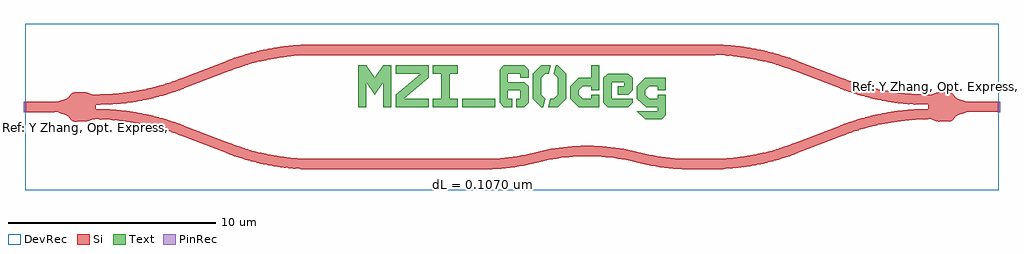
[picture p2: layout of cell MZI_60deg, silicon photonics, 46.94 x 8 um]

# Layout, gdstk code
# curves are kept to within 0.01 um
import gdstk
lib = gdstk.Library(unit=1e-6, precision=1e-09)
def R(c, l, rs):  # rectangles x0, y0, x1, y1
    for r in rs: c.add(gdstk.rectangle(r[:2], r[2:], *l))
def P(c, l, *ps):  # polygons
    for p in ps: c.add(gdstk.Polygon(p, *l))
Si = (1, 0)
PinRec = (1, 10)
Text = (10, 0)
DevRec = (68, 0)

optical_port1 = lib.new_cell('optical_port1')
optical_port1.add(gdstk.FlexPath([(0.05,0),(-0.05,0)], 0.5, ends="flush", simple_path=True, layer=1, datatype=10))  # PinRec
optical_port1.add(gdstk.FlexPath([(0.05,0),(-0.05,0)], 0.5, ends="flush", simple_path=True, layer=1, datatype=10))  # PinRec
optical_port1.add(gdstk.FlexPath([(0.05,0),(-0.05,0)], 0.5, ends="flush", simple_path=True, layer=1, datatype=10))  # PinRec
optical_port1.add(gdstk.FlexPath([(0.05,0),(-0.05,0)], 0.5, ends="flush", simple_path=True, layer=1, datatype=10))  # PinRec
optical_port1.add(gdstk.FlexPath([(0.05,0),(-0.05,0)], 0.5, ends="flush", simple_path=True, layer=1, datatype=10))  # PinRec
optical_port1.add(gdstk.FlexPath([(0.05,0),(-0.05,0)], 0.5, ends="flush", simple_path=True, layer=1, datatype=10))  # PinRec
optical_port1.add(gdstk.FlexPath([(0.05,0),(-0.05,0)], 0.5, ends="flush", simple_path=True, layer=1, datatype=10))  # PinRec
optical_port1.add(gdstk.FlexPath([(0.05,0),(-0.05,0)], 0.5, ends="flush", simple_path=True, layer=1, datatype=10))  # PinRec
optical_port1.add(gdstk.FlexPath([(0.05,0),(-0.05,0)], 0.5, ends="flush", simple_path=True, layer=1, datatype=10))  # PinRec
optical_port1.add(gdstk.FlexPath([(0.05,0),(-0.05,0)], 0.5, ends="flush", simple_path=True, layer=1, datatype=10))  # PinRec
optical_port1.add(gdstk.FlexPath([(0.05,0),(-0.05,0)], 0.5, ends="flush", simple_path=True, layer=1, datatype=10))  # PinRec
optical_port1.add(gdstk.FlexPath([(0.05,0),(-0.05,0)], 0.5, ends="flush", simple_path=True, layer=1, datatype=10))  # PinRec
optical_port1.add(gdstk.FlexPath([(0.05,0),(-0.05,0)], 0.5, ends="flush", simple_path=True, layer=1, datatype=10))  # PinRec
optical_port1.add(gdstk.FlexPath([(0.05,0),(-0.05,0)], 0.5, ends="flush", simple_path=True, layer=1, datatype=10))  # PinRec
optical_port1.add(gdstk.FlexPath([(0.05,0),(-0.05,0)], 0.5, ends="flush", simple_path=True, layer=1, datatype=10))  # PinRec
optical_port1.add(gdstk.FlexPath([(0.05,0),(-0.05,0)], 0.5, ends="flush", simple_path=True, layer=1, datatype=10))  # PinRec
optical_port1.add(gdstk.FlexPath([(0.05,0),(-0.05,0)], 0.5, ends="flush", simple_path=True, layer=1, datatype=10))  # PinRec
optical_port1.add(gdstk.FlexPath([(0.05,0),(-0.05,0)], 0.5, ends="flush", simple_path=True, layer=1, datatype=10))  # PinRec
optical_port1.add(gdstk.FlexPath([(0.05,0),(-0.05,0)], 0.5, ends="flush", simple_path=True, layer=1, datatype=10))  # PinRec
optical_port1.add(gdstk.FlexPath([(0.05,0),(-0.05,0)], 0.5, ends="flush", simple_path=True, layer=1, datatype=10))  # PinRec
optical_port1.add(gdstk.FlexPath([(0.05,0),(-0.05,0)], 0.5, ends="flush", simple_path=True, layer=1, datatype=10))  # PinRec
optical_port1.add(gdstk.FlexPath([(0.05,0),(-0.05,0)], 0.5, ends="flush", simple_path=True, layer=1, datatype=10))  # PinRec
optical_port1.add(gdstk.FlexPath([(0.05,0),(-0.05,0)], 0.5, ends="flush", simple_path=True, layer=1, datatype=10))  # PinRec
optical_port1.add(gdstk.FlexPath([(0.05,0),(-0.05,0)], 0.5, ends="flush", simple_path=True, layer=1, datatype=10))  # PinRec
optical_port1.add(gdstk.FlexPath([(0.05,0),(-0.05,0)], 0.5, ends="flush", simple_path=True, layer=1, datatype=10))  # PinRec
optical_port1.add(gdstk.FlexPath([(0.05,0),(-0.05,0)], 0.5, ends="flush", simple_path=True, layer=1, datatype=10))  # PinRec
optical_port1.add(gdstk.FlexPath([(0.05,0),(-0.05,0)], 0.5, ends="flush", simple_path=True, layer=1, datatype=10))  # PinRec
optical_port1.add(gdstk.FlexPath([(0.05,0),(-0.05,0)], 0.5, ends="flush", simple_path=True, layer=1, datatype=10))  # PinRec
optical_port1.add(gdstk.FlexPath([(0.05,0),(-0.05,0)], 0.5, ends="flush", simple_path=True, layer=1, datatype=10))  # PinRec
optical_port1.add(gdstk.FlexPath([(0.05,0),(-0.05,0)], 0.5, ends="flush", simple_path=True, layer=1, datatype=10))  # PinRec
optical_port1.add(gdstk.FlexPath([(0.05,0),(-0.05,0)], 0.5, ends="flush", simple_path=True, layer=1, datatype=10))  # PinRec
optical_port1.add(gdstk.FlexPath([(0.05,0),(-0.05,0)], 0.5, ends="flush", simple_path=True, layer=1, datatype=10))  # PinRec
optical_port1.add(gdstk.FlexPath([(0.05,0),(-0.05,0)], 0.5, ends="flush", simple_path=True, layer=1, datatype=10))  # PinRec
optical_port1.add(gdstk.FlexPath([(0.05,0),(-0.05,0)], 0.5, ends="flush", simple_path=True, layer=1, datatype=10))  # PinRec
optical_port1.add(gdstk.FlexPath([(0.05,0),(-0.05,0)], 0.5, ends="flush", simple_path=True, layer=1, datatype=10))  # PinRec
optical_port1.add(gdstk.FlexPath([(0.05,0),(-0.05,0)], 0.5, ends="flush", simple_path=True, layer=1, datatype=10))  # PinRec
optical_port1.add(gdstk.FlexPath([(0.05,0),(-0.05,0)], 0.5, ends="flush", simple_path=True, layer=1, datatype=10))  # PinRec
optical_port1.add(gdstk.Label('o1', (0,0), layer=1, texttype=10))
optical_port1.add(gdstk.Label('o1', (0,0), layer=1, texttype=10))
optical_port1.add(gdstk.Label('o1', (0,0), layer=1, texttype=10))
optical_port1.add(gdstk.Label('o1', (0,0), layer=1, texttype=10))
optical_port1.add(gdstk.Label('o1', (0,0), layer=1, texttype=10))
optical_port1.add(gdstk.Label('o1', (0,0), layer=1, texttype=10))
optical_port1.add(gdstk.Label('o1', (0,0), layer=1, texttype=10))
optical_port1.add(gdstk.Label('o1', (0,0), layer=1, texttype=10))
optical_port1.add(gdstk.Label('o1', (0,0), layer=1, texttype=10))
optical_port1.add(gdstk.Label('o1', (0,0), layer=1, texttype=10))
optical_port1.add(gdstk.Label('o1', (0,0), layer=1, texttype=10))
optical_port1.add(gdstk.Label('o1', (0,0), layer=1, texttype=10))
optical_port1.add(gdstk.Label('o1', (0,0), layer=1, texttype=10))
optical_port1.add(gdstk.Label('o1', (0,0), layer=1, texttype=10))
optical_port1.add(gdstk.Label('o1', (0,0), layer=1, texttype=10))
optical_port1.add(gdstk.Label('o1', (0,0), layer=1, texttype=10))
optical_port1.add(gdstk.Label('o1', (0,0), layer=1, texttype=10))
optical_port1.add(gdstk.Label('o1', (0,0), layer=1, texttype=10))
optical_port1.add(gdstk.Label('o1', (0,0), layer=1, texttype=10))
optical_port1.add(gdstk.Label('o1', (0,0), layer=1, texttype=10))
optical_port1.add(gdstk.Label('o1', (0,0), layer=1, texttype=10))
optical_port1.add(gdstk.Label('o1', (0,0), layer=1, texttype=10))
optical_port1.add(gdstk.Label('o1', (0,0), layer=1, texttype=10))
optical_port1.add(gdstk.Label('o1', (0,0), layer=1, texttype=10))
optical_port1.add(gdstk.Label('o1', (0,0), layer=1, texttype=10))
optical_port1.add(gdstk.Label('o1', (0,0), layer=1, texttype=10))
optical_port1.add(gdstk.Label('o1', (0,0), layer=1, texttype=10))
optical_port1.add(gdstk.Label('o1', (0,0), layer=1, texttype=10))
optical_port1.add(gdstk.Label('o1', (0,0), layer=1, texttype=10))
optical_port1.add(gdstk.Label('o1', (0,0), layer=1, texttype=10))
optical_port1.add(gdstk.Label('o1', (0,0), layer=1, texttype=10))
optical_port1.add(gdstk.Label('o1', (0,0), layer=1, texttype=10))
optical_port1.add(gdstk.Label('o1', (0,0), layer=1, texttype=10))
optical_port1.add(gdstk.Label('o1', (0,0), layer=1, texttype=10))
optical_port1.add(gdstk.Label('o1', (0,0), layer=1, texttype=10))
optical_port1.add(gdstk.Label('o1', (0,0), layer=1, texttype=10))
optical_port1.add(gdstk.Label('o1', (0,0), layer=1, texttype=10))

optical_port2 = lib.new_cell('optical_port2')
optical_port2.add(gdstk.FlexPath([(-0.05,0),(0.05,0)], 0.5, ends="flush", simple_path=True, layer=1, datatype=10))  # PinRec
optical_port2.add(gdstk.FlexPath([(-0.05,0),(0.05,0)], 0.5, ends="flush", simple_path=True, layer=1, datatype=10))  # PinRec
optical_port2.add(gdstk.FlexPath([(-0.05,0),(0.05,0)], 0.5, ends="flush", simple_path=True, layer=1, datatype=10))  # PinRec
optical_port2.add(gdstk.FlexPath([(-0.05,0),(0.05,0)], 0.5, ends="flush", simple_path=True, layer=1, datatype=10))  # PinRec
optical_port2.add(gdstk.FlexPath([(-0.05,0),(0.05,0)], 0.5, ends="flush", simple_path=True, layer=1, datatype=10))  # PinRec
optical_port2.add(gdstk.FlexPath([(-0.05,0),(0.05,0)], 0.5, ends="flush", simple_path=True, layer=1, datatype=10))  # PinRec
optical_port2.add(gdstk.FlexPath([(-0.05,0),(0.05,0)], 0.5, ends="flush", simple_path=True, layer=1, datatype=10))  # PinRec
optical_port2.add(gdstk.FlexPath([(-0.05,0),(0.05,0)], 0.5, ends="flush", simple_path=True, layer=1, datatype=10))  # PinRec
optical_port2.add(gdstk.FlexPath([(-0.05,0),(0.05,0)], 0.5, ends="flush", simple_path=True, layer=1, datatype=10))  # PinRec
optical_port2.add(gdstk.FlexPath([(-0.05,0),(0.05,0)], 0.5, ends="flush", simple_path=True, layer=1, datatype=10))  # PinRec
optical_port2.add(gdstk.FlexPath([(-0.05,0),(0.05,0)], 0.5, ends="flush", simple_path=True, layer=1, datatype=10))  # PinRec
optical_port2.add(gdstk.FlexPath([(-0.05,0),(0.05,0)], 0.5, ends="flush", simple_path=True, layer=1, datatype=10))  # PinRec
optical_port2.add(gdstk.FlexPath([(-0.05,0),(0.05,0)], 0.5, ends="flush", simple_path=True, layer=1, datatype=10))  # PinRec
optical_port2.add(gdstk.FlexPath([(-0.05,0),(0.05,0)], 0.5, ends="flush", simple_path=True, layer=1, datatype=10))  # PinRec
optical_port2.add(gdstk.FlexPath([(-0.05,0),(0.05,0)], 0.5, ends="flush", simple_path=True, layer=1, datatype=10))  # PinRec
optical_port2.add(gdstk.FlexPath([(-0.05,0),(0.05,0)], 0.5, ends="flush", simple_path=True, layer=1, datatype=10))  # PinRec
optical_port2.add(gdstk.FlexPath([(-0.05,0),(0.05,0)], 0.5, ends="flush", simple_path=True, layer=1, datatype=10))  # PinRec
optical_port2.add(gdstk.FlexPath([(-0.05,0),(0.05,0)], 0.5, ends="flush", simple_path=True, layer=1, datatype=10))  # PinRec
optical_port2.add(gdstk.FlexPath([(-0.05,0),(0.05,0)], 0.5, ends="flush", simple_path=True, layer=1, datatype=10))  # PinRec
optical_port2.add(gdstk.FlexPath([(-0.05,0),(0.05,0)], 0.5, ends="flush", simple_path=True, layer=1, datatype=10))  # PinRec
optical_port2.add(gdstk.FlexPath([(-0.05,0),(0.05,0)], 0.5, ends="flush", simple_path=True, layer=1, datatype=10))  # PinRec
optical_port2.add(gdstk.FlexPath([(-0.05,0),(0.05,0)], 0.5, ends="flush", simple_path=True, layer=1, datatype=10))  # PinRec
optical_port2.add(gdstk.FlexPath([(-0.05,0),(0.05,0)], 0.5, ends="flush", simple_path=True, layer=1, datatype=10))  # PinRec
optical_port2.add(gdstk.FlexPath([(-0.05,0),(0.05,0)], 0.5, ends="flush", simple_path=True, layer=1, datatype=10))  # PinRec
optical_port2.add(gdstk.FlexPath([(-0.05,0),(0.05,0)], 0.5, ends="flush", simple_path=True, layer=1, datatype=10))  # PinRec
optical_port2.add(gdstk.FlexPath([(-0.05,0),(0.05,0)], 0.5, ends="flush", simple_path=True, layer=1, datatype=10))  # PinRec
optical_port2.add(gdstk.FlexPath([(-0.05,0),(0.05,0)], 0.5, ends="flush", simple_path=True, layer=1, datatype=10))  # PinRec
optical_port2.add(gdstk.FlexPath([(-0.05,0),(0.05,0)], 0.5, ends="flush", simple_path=True, layer=1, datatype=10))  # PinRec
optical_port2.add(gdstk.FlexPath([(-0.05,0),(0.05,0)], 0.5, ends="flush", simple_path=True, layer=1, datatype=10))  # PinRec
optical_port2.add(gdstk.FlexPath([(-0.05,0),(0.05,0)], 0.5, ends="flush", simple_path=True, layer=1, datatype=10))  # PinRec
optical_port2.add(gdstk.FlexPath([(-0.05,0),(0.05,0)], 0.5, ends="flush", simple_path=True, layer=1, datatype=10))  # PinRec
optical_port2.add(gdstk.FlexPath([(-0.05,0),(0.05,0)], 0.5, ends="flush", simple_path=True, layer=1, datatype=10))  # PinRec
optical_port2.add(gdstk.FlexPath([(-0.05,0),(0.05,0)], 0.5, ends="flush", simple_path=True, layer=1, datatype=10))  # PinRec
optical_port2.add(gdstk.FlexPath([(-0.05,0),(0.05,0)], 0.5, ends="flush", simple_path=True, layer=1, datatype=10))  # PinRec
optical_port2.add(gdstk.FlexPath([(-0.05,0),(0.05,0)], 0.5, ends="flush", simple_path=True, layer=1, datatype=10))  # PinRec
optical_port2.add(gdstk.FlexPath([(-0.05,0),(0.05,0)], 0.5, ends="flush", simple_path=True, layer=1, datatype=10))  # PinRec
optical_port2.add(gdstk.FlexPath([(-0.05,0),(0.05,0)], 0.5, ends="flush", simple_path=True, layer=1, datatype=10))  # PinRec
optical_port2.add(gdstk.Label('o2', (0,0), layer=1, texttype=10))
optical_port2.add(gdstk.Label('o2', (0,0), layer=1, texttype=10))
optical_port2.add(gdstk.Label('o2', (0,0), layer=1, texttype=10))
optical_port2.add(gdstk.Label('o2', (0,0), layer=1, texttype=10))
optical_port2.add(gdstk.Label('o2', (0,0), layer=1, texttype=10))
optical_port2.add(gdstk.Label('o2', (0,0), layer=1, texttype=10))
optical_port2.add(gdstk.Label('o2', (0,0), layer=1, texttype=10))
optical_port2.add(gdstk.Label('o2', (0,0), layer=1, texttype=10))
optical_port2.add(gdstk.Label('o2', (0,0), layer=1, texttype=10))
optical_port2.add(gdstk.Label('o2', (0,0), layer=1, texttype=10))
optical_port2.add(gdstk.Label('o2', (0,0), layer=1, texttype=10))
optical_port2.add(gdstk.Label('o2', (0,0), layer=1, texttype=10))
optical_port2.add(gdstk.Label('o2', (0,0), layer=1, texttype=10))
optical_port2.add(gdstk.Label('o2', (0,0), layer=1, texttype=10))
optical_port2.add(gdstk.Label('o2', (0,0), layer=1, texttype=10))
optical_port2.add(gdstk.Label('o2', (0,0), layer=1, texttype=10))
optical_port2.add(gdstk.Label('o2', (0,0), layer=1, texttype=10))
optical_port2.add(gdstk.Label('o2', (0,0), layer=1, texttype=10))
optical_port2.add(gdstk.Label('o2', (0,0), layer=1, texttype=10))
optical_port2.add(gdstk.Label('o2', (0,0), layer=1, texttype=10))
optical_port2.add(gdstk.Label('o2', (0,0), layer=1, texttype=10))
optical_port2.add(gdstk.Label('o2', (0,0), layer=1, texttype=10))
optical_port2.add(gdstk.Label('o2', (0,0), layer=1, texttype=10))
optical_port2.add(gdstk.Label('o2', (0,0), layer=1, texttype=10))
optical_port2.add(gdstk.Label('o2', (0,0), layer=1, texttype=10))
optical_port2.add(gdstk.Label('o2', (0,0), layer=1, texttype=10))
optical_port2.add(gdstk.Label('o2', (0,0), layer=1, texttype=10))
optical_port2.add(gdstk.Label('o2', (0,0), layer=1, texttype=10))
optical_port2.add(gdstk.Label('o2', (0,0), layer=1, texttype=10))
optical_port2.add(gdstk.Label('o2', (0,0), layer=1, texttype=10))
optical_port2.add(gdstk.Label('o2', (0,0), layer=1, texttype=10))
optical_port2.add(gdstk.Label('o2', (0,0), layer=1, texttype=10))
optical_port2.add(gdstk.Label('o2', (0,0), layer=1, texttype=10))
optical_port2.add(gdstk.Label('o2', (0,0), layer=1, texttype=10))
optical_port2.add(gdstk.Label('o2', (0,0), layer=1, texttype=10))
optical_port2.add(gdstk.Label('o2', (0,0), layer=1, texttype=10))
optical_port2.add(gdstk.Label('o2', (0,0), layer=1, texttype=10))

text_tmzi_60deg_s2_p16p_ = lib.new_cell('text_TMZI_60deg_S2_P16p_83832253')
R(text_tmzi_60deg_s2_p16p_, Text, [(13.62,0,15.22,0.4)])
P(text_tmzi_60deg_s2_p16p_, Text, [(22.42,-0.6),(22.02,-0.2),(23.02,-0.2),(23.02,0),(22.488,0),(22.02,0.4),(22.02,1),(22.42,1.4),(23.42,1.4),(23.42,0.8),(23.02,0.8),(23.02,1),(22.62,1),(22.42,0.8),(22.42,0.6),(22.62,0.4),(23.02,0.4),(23.02,0.6),(23.42,0.6),(23.42,-0.4),(23.22,-0.6)],
  [(20.62,0),(20.42,0.2),(20.42,1.4),(20.62,1.6),(21.62,1.6),(21.82,1.4),(21.82,0.8),(21.62,0.6),(21.1,0.6),(21.1,1),(21.42,1),(21.42,1.2),(20.82,1.2),(20.82,0.4),(21.82,0.4),(21.82,0.2),(21.62,0)],
  [(8.62,0),(8.62,2),(9.02,2),(9.42,1.4),(9.82,2),(10.22,2),(10.22,0),(9.82,0),(9.82,1.2),(9.42,0.6),(9.02,1.2),(9.02,0)],
  [(10.42,0),(10.42,0.6),(11.62,1.6),(10.42,1.6),(10.42,2),(12.02,2),(12.02,1.4),(10.82,0.4),(12.02,0.4),(12.02,0)],
  [(12.22,0),(12.22,0.4),(12.62,0.4),(12.62,1.6),(12.22,1.6),(12.22,2),(13.42,2),(13.42,1.6),(13.02,1.6),(13.02,0.4),(13.42,0.4),(13.42,0)],
  [(15.62,0),(15.42,0.2),(15.42,1.8),(15.62,2),(16.62,2),(16.82,1.8),(16.82,1.4),(16.42,1.4),(16.42,1.6),(15.82,1.6),(15.82,1.2),(16.62,1.2),(16.82,1),(16.82,0.2),(16.62,0),(16.22,0),(16.22,0.4),(16.42,0.4),(16.42,0.8),(15.82,0.8),(15.82,0.4),(16.02,0.4),(16.02,0)],
  [(17.42,0),(17.02,0.4),(17.02,1.6),(17.42,2),(17.88,2),(17.78,1.6),(17.62,1.6),(17.42,1.4),(17.42,0.6),(17.62,0.4),(17.52,0)],
  [(17.76,0),(17.86,0.4),(18.02,0.4),(18.22,0.6),(18.22,1.4),(18.02,1.6),(18.12,2),(18.22,2),(18.62,1.6),(18.62,0.4),(18.22,0)],
  [(19.22,0),(18.82,0.4),(18.82,1),(19.22,1.4),(19.82,1.4),(19.82,2),(20.22,2),(20.22,0.8),(19.82,0.8),(19.82,1),(19.42,1),(19.22,0.8),(19.22,0.6),(19.42,0.4),(19.82,0.4),(19.82,0.6),(20.22,0.6),(20.22,0)])

mzi_60deg = lib.new_cell('MZI_60deg')
P(mzi_60deg, Si, [(6.458,-3),(5.718,-2.974),(4.993,-2.903),(4.257,-2.784),(3.509,-2.613),(3.017,-2.472),(2.491,-2.295),(-0.369,-1.202),(-1.123,-0.974),(-1.826,-0.812),(-2.677,-0.678),(-3.601,-0.607),(-4.123,-0.595),(-4.492,-0.699),(-4.991,-0.701),(-5.077,-0.683),(-5.145,-0.647),(-5.344,-0.44),(-5.434,-0.378),(-5.833,-0.25),(-7.4,-0.25),(-7.4,0.25),(-5.833,0.25),(-5.434,0.378),(-5.344,0.44),(-5.145,0.647),(-5.077,0.683),(-4.991,0.701),(-4.492,0.699),(-4.123,0.595),(-3.501,0.611),(-2.619,0.685),(-1.693,0.839),(-0.976,1.014),(-0.334,1.214),(2.412,2.266),(3.109,2.5),(6.456,2.5),(5.796,2.478),(5.119,2.415),(4.414,2.305),(3.799,2.171),(3.282,2.03),(2.706,1.841),(0.088,0.834),(-0.72,0.567),(-1.565,0.355),(-2.381,0.212),(-3.16,0.13),(-4,0.1),(-4,-0.1),(-3.265,-0.123),(-2.564,-0.188),(-1.895,-0.29),(-1.214,-0.435),(-0.612,-0.599),(-0.086,-0.771),(2.532,-1.777),(3.336,-2.046),(3.962,-2.21),(4.54,-2.328),(5.119,-2.415),(5.678,-2.47),(6.456,-2.5),(15.055,-2.491),(15.669,-2.446),(16.279,-2.362),(16.682,-2.285),(17.687,-2.054),(18.3,-1.954),(18.918,-1.892),(19.538,-1.867),(20.159,-1.879),(20.984,-1.954),(21.597,-2.054),(22.804,-2.326),(23.411,-2.422),(23.819,-2.465),(24.434,-2.498),(25.583,-2.5),(26.488,-2.46),(27.036,-2.4),(27.625,-2.305),(28.24,-2.171),(28.757,-2.03),(29.507,-1.777),(32.008,-0.813),(32.461,-0.658),(32.999,-0.5),(33.796,-0.316),(34.532,-0.197),(35.288,-0.124),(36.039,-0.1),(36.039,0.1),(35.304,0.123),(34.603,0.188),(33.934,0.29),(33.253,0.435),(32.651,0.599),(32.125,0.771),(29.507,1.777),(28.757,2.03),(28.24,2.171),(27.667,2.297),(27.08,2.394),(26.567,2.453),(26.081,2.487),(25.583,2.5),(3.109,2.5),(3.59,2.634),(4.147,2.762),(4.757,2.87),(5.294,2.938),(5.868,2.983),(6.458,3),(25.581,3),(26.446,2.965),(27.046,2.903),(27.644,2.81),(28.229,2.688),(28.819,2.533),(29.627,2.266),(32.373,1.214),(33.015,1.014),(33.732,0.839),(34.658,0.685),(35.54,0.611),(36.162,0.595),(36.531,0.699),(37.03,0.701),(37.116,0.683),(37.184,0.647),(37.383,0.44),(37.473,0.378),(37.872,0.25),(39.439,0.25),(39.439,-0.25),(37.872,-0.25),(37.473,-0.378),(37.383,-0.44),(37.184,-0.647),(37.116,-0.683),(37.03,-0.701),(36.531,-0.699),(36.162,-0.595),(35.54,-0.611),(34.658,-0.685),(33.732,-0.839),(33.015,-1.014),(32.373,-1.214),(29.627,-2.266),(28.937,-2.498),(28.449,-2.634),(27.892,-2.762),(27.282,-2.87),(26.745,-2.938),(26.225,-2.98),(25.698,-2.999),(24.423,-2.998),(23.777,-2.964),(23.135,-2.889),(22.709,-2.817),(21.502,-2.545),(20.919,-2.45),(20.331,-2.39),(19.544,-2.366),(18.953,-2.39),(18.365,-2.45),(17.782,-2.545),(16.786,-2.774),(16.362,-2.855),(15.721,-2.943),(15.076,-2.991)])
R(mzi_60deg, DevRec, [(-7.4,-4,39.439,4)])
mzi_60deg.add(gdstk.Reference(optical_port1, (-7.4,0)))
mzi_60deg.add(gdstk.Reference(optical_port2, (39.439,0)))
mzi_60deg.add(gdstk.Reference(text_tmzi_60deg_s2_p16p_, (0,0)))
mzi_60deg.add(gdstk.Label('Ref: Y Zhang, Opt. Express, 21/1, 2013', (-5.65,-1), layer=10, texttype=0))
mzi_60deg.add(gdstk.Label('Ref: Y Zhang, Opt. Express, 21/1, 2013', (37.689,1), layer=10, texttype=0))
mzi_60deg.add(gdstk.Label('dL = 0.1070 um', (14.646,-3.75), layer=10, texttype=0))

lib.write_gds('MZI_60deg.gds')
